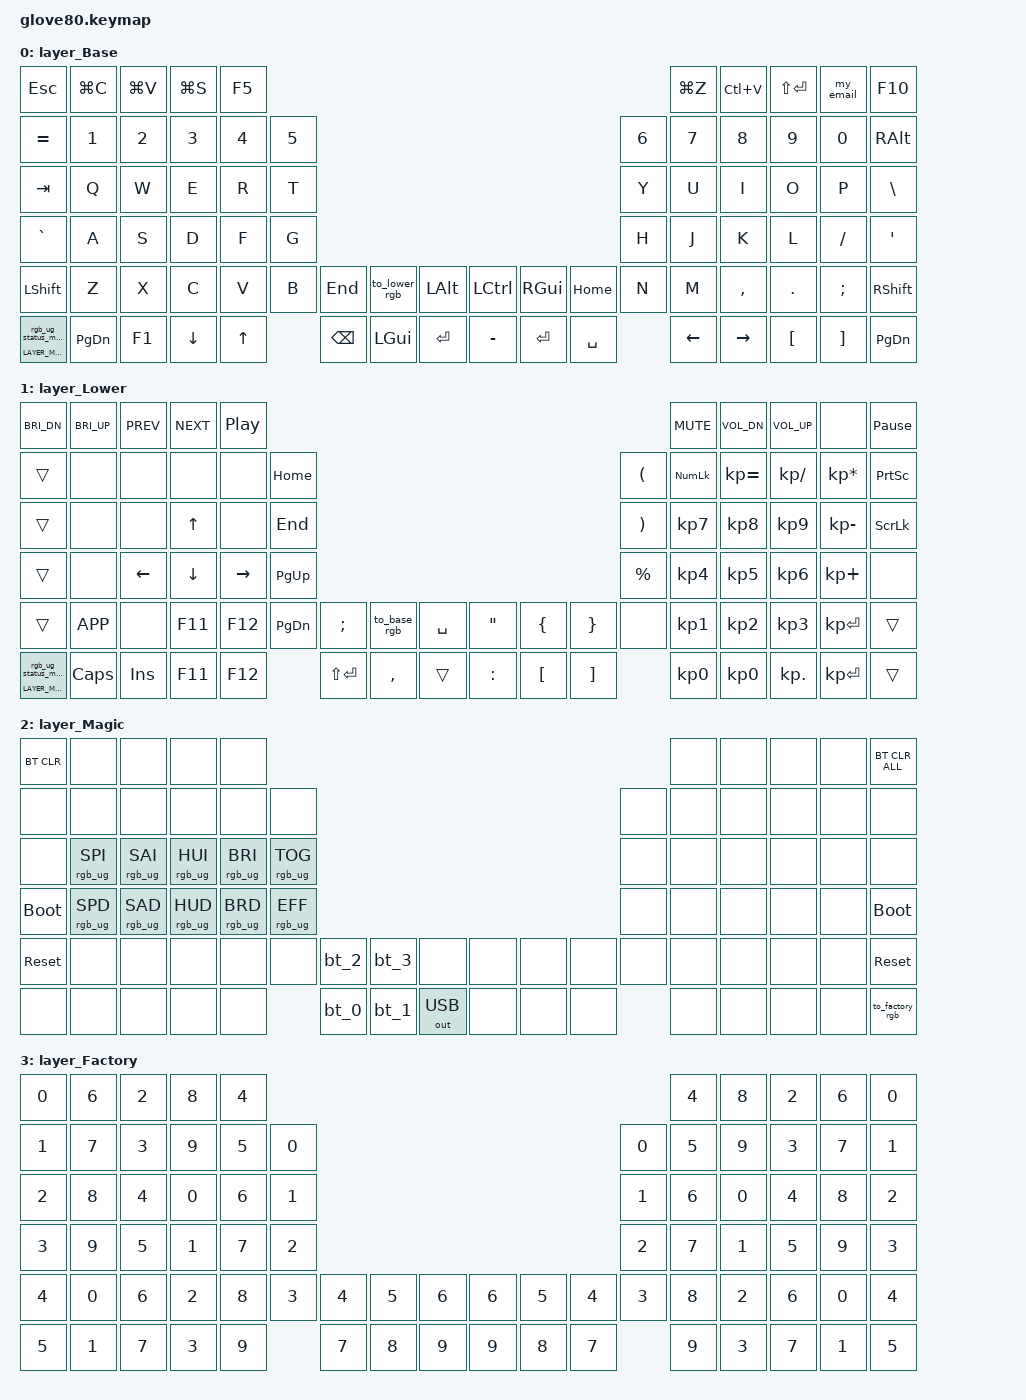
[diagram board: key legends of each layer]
/*
 * Copyright (c) 2020 The ZMK Contributors
 * Copyright (c) 2025 Innaworks Development Limited, trading as MoErgo
 *
 * SPDX-License-Identifier: MIT
 */


/* THIS FILE WAS GENERATED BY GLOVE80 LAYOUT EDITOR
 *
 * This file was generated automatically. You may or may not want to
 * edit it directly.
 */

#include <behaviors.dtsi>
/* Include all behavior includes needed */
#include <dt-bindings/zmk/outputs.h>
#include <dt-bindings/zmk/keys.h>
#include <dt-bindings/zmk/bt.h>
#include <dt-bindings/zmk/rgb.h>

#include <dt-bindings/zmk/rgb_colors.h>

/* On demand includes */


/* Automatically generated layer name #define */
#define LAYER_Base 0
#define LAYER_Lower 1
#define LAYER_Magic 2
#define LAYER_Factory 3

/* To deal with the situation where there is no Lower layer, to keep &lower happy */
#ifndef LAYER_Lower
#define LAYER_Lower 0
#endif

/* Custom Device-tree */
// RGB color macros for layer-based underglow
/ {
    macros {
        rgb_base: rgb_base {
            label = "RGB_BASE_LAYER";
            compatible = "zmk,behavior-macro";
            #binding-cells = <0>;
            bindings = <&rgb_ug RGB_COLOR_HSB(0,0,0)>;  // Black/Off
        };
        
        rgb_lower: rgb_lower {
            label = "RGB_LOWER_LAYER";
            compatible = "zmk,behavior-macro";
            #binding-cells = <0>;
            bindings = <&rgb_ug RGB_COLOR_HSB(300,100,50)>;  // Purple
        };
        
        rgb_magic: rgb_magic {
            label = "RGB_MAGIC_LAYER";
            compatible = "zmk,behavior-macro";
            #binding-cells = <0>;
            bindings = <&rgb_ug RGB_COLOR_HSB(240,100,50)>;  // Blue
        };
        
        rgb_factory: rgb_factory {
            label = "RGB_FACTORY_LAYER";
            compatible = "zmk,behavior-macro";
            #binding-cells = <0>;
            bindings = <&rgb_ug RGB_COLOR_HSB(180,100,50)>;  // Cyan/Teal
        };
    };
};

/* Input Listeners */


/* System behavior and Macros */
/ {
    behaviors {
        // For the "layer" key, it'd nice to be able to use it as either a shift or a toggle.
        // Configure it as a tap dance, so the first tap (or hold) is a &mo and the second tap is a &to
        lower: lower {
            compatible = "zmk,behavior-tap-dance";
            label = "LAYER_TAP_DANCE";
            #binding-cells = <0>;
            tapping-term-ms = <200>;
            bindings = <&mo LAYER_Lower>, <&to LAYER_Lower>;
        };
        
        // Fixed layer switch behaviors - separate the layer switching from RGB
        to_lower_rgb: to_lower_rgb {
            compatible = "zmk,behavior-macro";
            label = "TO_LOWER_WITH_RGB";
            #binding-cells = <0>;
            wait-ms = <10>;
            tap-ms = <10>;
            bindings = <&to LAYER_Lower>, <&macro_wait_time 50>, <&rgb_lower>;
        };
        
        to_base_rgb: to_base_rgb {
            compatible = "zmk,behavior-macro";
            label = "TO_BASE_WITH_RGB";
            #binding-cells = <0>;
            wait-ms = <10>;
            tap-ms = <10>;
            bindings = <&to LAYER_Base>, <&macro_wait_time 50>, <&rgb_base>;
        };
        
        to_magic_rgb: to_magic_rgb {
            compatible = "zmk,behavior-macro";
            label = "TO_MAGIC_WITH_RGB";
            #binding-cells = <0>;
            wait-ms = <10>;
            tap-ms = <10>;
            bindings = <&to LAYER_Magic>, <&macro_wait_time 50>, <&rgb_magic>;
        };
        
        to_factory_rgb: to_factory_rgb {
            compatible = "zmk,behavior-macro";
            label = "TO_FACTORY_WITH_RGB";
            #binding-cells = <0>;
            wait-ms = <10>;
            tap-ms = <10>;
            bindings = <&to LAYER_Factory>, <&macro_wait_time 50>, <&rgb_factory>;
        };
    };
};

/ {
    macros {
        rgb_ug_status_macro: rgb_ug_status_macro {
            label = "RGB_UG_STATUS";
            compatible = "zmk,behavior-macro";
            #binding-cells = <0>;
            bindings
                = <&rgb_ug RGB_STATUS>;
        };
    };
};


/ {
#ifdef BT_DISC_CMD
    behaviors {
        bt_0: bt_0 {
            compatible = "zmk,behavior-tap-dance";
            label = "BT_0";
            #binding-cells = <0>;
            tapping-term-ms = <200>;
            bindings = <&bt_select_0>, <&bt BT_DISC 0>;
        };
        bt_1: bt_1 {
            compatible = "zmk,behavior-tap-dance";
            label = "BT_1";
            #binding-cells = <0>;
            tapping-term-ms = <200>;
            bindings = <&bt_select_1>, <&bt BT_DISC 1>;
        };
        bt_2: bt_2 {
            compatible = "zmk,behavior-tap-dance";
            label = "BT_2";
            #binding-cells = <0>;
            tapping-term-ms = <200>;
            bindings = <&bt_select_2>, <&bt BT_DISC 2>;
        };
        bt_3: bt_3 {
            compatible = "zmk,behavior-tap-dance";
            label = "BT_3";
            #binding-cells = <0>;
            tapping-term-ms = <200>;
            bindings = <&bt_select_3>, <&bt BT_DISC 3>;
        };
    };
    macros {
        bt_select_0: bt_select_0 {
            label = "BT_SELECT_0";
            compatible = "zmk,behavior-macro";
            #binding-cells = <0>;
            bindings
                = <&out OUT_BLE>,
                  <&bt BT_SEL 0>;
        };
        bt_select_1: bt_select_1 {
            label = "BT_SELECT_1";
            compatible = "zmk,behavior-macro";
            #binding-cells = <0>;
            bindings
                = <&out OUT_BLE>,
                  <&bt BT_SEL 1>;
        };
        bt_select_2: bt_select_2 {
            label = "BT_SELECT_2";
            compatible = "zmk,behavior-macro";
            #binding-cells = <0>;
            bindings
                = <&out OUT_BLE>,
                  <&bt BT_SEL 2>;
        };
        bt_select_3: bt_select_3 {
            label = "BT_SELECT_3";
            compatible = "zmk,behavior-macro";
            #binding-cells = <0>;
            bindings
                = <&out OUT_BLE>,
                  <&bt BT_SEL 3>;
        };
    };
#else
    macros {
        bt_0: bt_0 {
            label = "BT_0";
            compatible = "zmk,behavior-macro";
            #binding-cells = <0>;
            bindings
                = <&out OUT_BLE>,
                  <&bt BT_SEL 0>;
        };
        bt_1: bt_1 {
            label = "BT_1";
            compatible = "zmk,behavior-macro";
            #binding-cells = <0>;
            bindings
                = <&out OUT_BLE>,
                  <&bt BT_SEL 1>;
        };
        bt_2: bt_2 {
            label = "BT_2";
            compatible = "zmk,behavior-macro";
            #binding-cells = <0>;
            bindings
                = <&out OUT_BLE>,
                  <&bt BT_SEL 2>;
        };
        bt_3: bt_3 {
            label = "BT_3";
            compatible = "zmk,behavior-macro";
            #binding-cells = <0>;
            bindings
                = <&out OUT_BLE>,
                  <&bt BT_SEL 3>;
        };
    };
#endif
};

/ {
    behaviors {
        magic: magic {
            compatible = "zmk,behavior-hold-tap";
            label = "MAGIC_HOLD_TAP";
            #binding-cells = <2>;
            flavor = "tap-preferred";
            tapping-term-ms = <200>;
            bindings = <&mo>, <&rgb_ug_status_macro>;
        };
    };
};

/* #define for key positions */
#define POS_LH_T1 52
#define POS_LH_T2 53
#define POS_LH_T3 54
#define POS_LH_T4 69
#define POS_LH_T5 70
#define POS_LH_T6 71
#define POS_LH_C1R2 15
#define POS_LH_C1R3 27
#define POS_LH_C1R4 39
#define POS_LH_C1R5 51
#define POS_LH_C2R1 4
#define POS_LH_C2R2 14
#define POS_LH_C2R3 26
#define POS_LH_C2R4 38
#define POS_LH_C2R5 50
#define POS_LH_C2R6 68
#define POS_LH_C3R1 3
#define POS_LH_C3R2 13
#define POS_LH_C3R3 25
#define POS_LH_C3R4 37
#define POS_LH_C3R5 49
#define POS_LH_C3R6 67
#define POS_LH_C4R1 2
#define POS_LH_C4R2 12
#define POS_LH_C4R3 24
#define POS_LH_C4R4 36
#define POS_LH_C4R5 48
#define POS_LH_C4R6 66
#define POS_LH_C5R1 1
#define POS_LH_C5R2 11
#define POS_LH_C5R3 23
#define POS_LH_C5R4 35
#define POS_LH_C5R5 47
#define POS_LH_C5R6 65
#define POS_LH_C6R1 0
#define POS_LH_C6R2 10
#define POS_LH_C6R3 22
#define POS_LH_C6R4 34
#define POS_LH_C6R5 46
#define POS_LH_C6R6 64
#define POS_RH_T1 57
#define POS_RH_T2 56
#define POS_RH_T3 55
#define POS_RH_T4 74
#define POS_RH_T5 73
#define POS_RH_T6 72
#define POS_RH_C1R2 16
#define POS_RH_C1R3 28
#define POS_RH_C1R4 40
#define POS_RH_C1R5 58
#define POS_RH_C2R1 5
#define POS_RH_C2R2 17
#define POS_RH_C2R3 29
#define POS_RH_C2R4 41
#define POS_RH_C2R5 59
#define POS_RH_C2R6 75
#define POS_RH_C3R1 6
#define POS_RH_C3R2 18
#define POS_RH_C3R3 30
#define POS_RH_C3R4 42
#define POS_RH_C3R5 60
#define POS_RH_C3R6 76
#define POS_RH_C4R1 7
#define POS_RH_C4R2 19
#define POS_RH_C4R3 31
#define POS_RH_C4R4 43
#define POS_RH_C4R5 61
#define POS_RH_C4R6 77
#define POS_RH_C5R1 8
#define POS_RH_C5R2 20
#define POS_RH_C5R3 32
#define POS_RH_C5R4 44
#define POS_RH_C5R5 62
#define POS_RH_C5R6 78
#define POS_RH_C6R1 9
#define POS_RH_C6R2 21
#define POS_RH_C6R3 33
#define POS_RH_C6R4 45
#define POS_RH_C6R5 63
#define POS_RH_C6R6 79

/* Custom Defined Behaviors */
/ {
macros {
    my_email: my_email {
        compatible = "zmk,behavior-macro";
        label = "MY_EMAIL";
        #binding-cells = <0>;
        bindings = <&kp LS(W) &kp H &kp AT &kp T &kp S &kp LS(M) &kp Y &kp LS(N) &kp A &kp M &kp N3 &kp EXCL>;
    };
};
};

/* Automatically generated macro definitions */
/ {
    macros {

    };
};

/* Automatically generated behavior definitions */
/ {
    behaviors {

    };
};

/* Automatically generated combos definitions */


/* Automatically generated keymap */
/ {
    keymap {
        compatible = "zmk,keymap";


        layer_Base {
            bindings = <
              &kp ESC  &kp LG(C)  &kp LG(V)  &kp LG(S)  &kp F5                                                                                   &kp LG(Z)  &kp LC(V)  &kp LS(RET)  &my_email    &kp F10
            &kp EQUAL     &kp N1     &kp N2     &kp N3  &kp N4  &kp N5                                                                   &kp N6     &kp N7     &kp N8       &kp N9     &kp N0   &kp RALT
              &kp TAB      &kp Q      &kp W      &kp E   &kp R   &kp T                                                                    &kp Y      &kp U      &kp I        &kp O      &kp P   &kp BSLH
            &kp GRAVE      &kp A      &kp S      &kp D   &kp F   &kp G                                                                    &kp H      &kp J      &kp K        &kp L   &kp FSLH    &kp SQT
            &kp LSHFT      &kp Z      &kp X      &kp C   &kp V   &kp B   &kp END  &to_lower_rgb  &kp LALT  &kp LCTRL  &kp RGUI   &kp HOME   &kp N      &kp M  &kp COMMA      &kp DOT   &kp SEMI  &kp RSHFT
 &magic LAYER_Magic 0  &kp PG_DN     &kp F1   &kp DOWN  &kp UP          &kp BSPC     &kp LGUI   &kp RET  &kp MINUS   &kp RET  &kp SPACE           &kp LEFT  &kp RIGHT     &kp LBKT   &kp RBKT  &kp PG_DN
            >;
        };

        layer_Lower {
            bindings = <
         &kp C_BRI_DN  &kp C_BRI_UP      &kp C_PREV      &kp C_NEXT         &kp C_PP                                                                                                         &kp C_MUTE  &kp C_VOL_DN  &kp C_VOL_UP            &none  &kp PAUSE_BREAK
               &trans         &none           &none           &none            &none   &kp HOME                                                                        &kp LEFT_PARENTHESIS  &kp KP_NUM  &kp KP_EQUAL  &kp KP_SLASH  &kp KP_MULTIPLY  &kp PRINTSCREEN
               &trans         &none           &none    &kp UP_ARROW            &none    &kp END                                                                       &kp RIGHT_PARENTHESIS   &kp KP_N7     &kp KP_N8     &kp KP_N9     &kp KP_MINUS   &kp SCROLLLOCK
               &trans         &none  &kp LEFT_ARROW  &kp DOWN_ARROW  &kp RIGHT_ARROW  &kp PG_UP                                                                                 &kp PERCENT   &kp KP_N4     &kp KP_N5     &kp KP_N6      &kp KP_PLUS            &none
               &trans     &kp K_APP           &none         &kp F11          &kp F12  &kp PG_DN     &kp SEMI  &to_base_rgb  &kp SPACE    &kp DQT  &kp LBRC  &kp RBRC                     &none   &kp KP_N1     &kp KP_N2     &kp KP_N3     &kp KP_ENTER           &trans
 &magic LAYER_Magic 0      &kp CAPS         &kp INS         &kp F11          &kp F12             &kp LS(RET)   &kp COMMA     &trans  &kp COLON  &kp LBKT  &kp RBKT                             &kp KP_N0     &kp KP_N0    &kp KP_DOT     &kp KP_ENTER           &trans
            >;
        };

        layer_Magic {
            bindings = <
  &bt BT_CLR            &none            &none            &none            &none                                                                                     &none   &none   &none   &none  &bt BT_CLR_ALL
       &none            &none            &none            &none            &none            &none                                                            &none   &none   &none   &none   &none           &none
       &none  &rgb_ug RGB_SPI  &rgb_ug RGB_SAI  &rgb_ug RGB_HUI  &rgb_ug RGB_BRI  &rgb_ug RGB_TOG                                                            &none   &none   &none   &none   &none           &none
 &bootloader  &rgb_ug RGB_SPD  &rgb_ug RGB_SAD  &rgb_ug RGB_HUD  &rgb_ug RGB_BRD  &rgb_ug RGB_EFF                                                            &none   &none   &none   &none   &none     &bootloader
  &sys_reset            &none            &none            &none            &none            &none   &bt_2   &bt_3         &none   &none   &none   &none   &none   &none   &none   &none   &none      &sys_reset
       &none            &none            &none            &none            &none                    &bt_0   &bt_1  &out OUT_USB   &none   &none   &none           &none   &none   &none   &none  &to_factory_rgb
            >;
        };

        layer_Factory {
            bindings = <
 &kp NUMBER_0  &kp NUMBER_6  &kp NUMBER_2  &kp NUMBER_8  &kp NUMBER_4                                                                                                                     &kp NUMBER_4  &kp NUMBER_8  &kp NUMBER_2  &kp NUMBER_6  &kp NUMBER_0
 &kp NUMBER_1  &kp NUMBER_7  &kp NUMBER_3  &kp NUMBER_9  &kp NUMBER_5  &kp NUMBER_0                                                                                         &kp NUMBER_0  &kp NUMBER_5  &kp NUMBER_9  &kp NUMBER_3  &kp NUMBER_7  &kp NUMBER_1
 &kp NUMBER_2  &kp NUMBER_8  &kp NUMBER_4  &kp NUMBER_0  &kp NUMBER_6  &kp NUMBER_1                                                                                         &kp NUMBER_1  &kp NUMBER_6  &kp NUMBER_0  &kp NUMBER_4  &kp NUMBER_8  &kp NUMBER_2
 &kp NUMBER_3  &kp NUMBER_9  &kp NUMBER_5  &kp NUMBER_1  &kp NUMBER_7  &kp NUMBER_2                                                                                         &kp NUMBER_2  &kp NUMBER_7  &kp NUMBER_1  &kp NUMBER_5  &kp NUMBER_9  &kp NUMBER_3
 &kp NUMBER_4  &kp NUMBER_0  &kp NUMBER_6  &kp NUMBER_2  &kp NUMBER_8  &kp NUMBER_3  &kp NUMBER_4  &kp NUMBER_5  &kp NUMBER_6  &kp NUMBER_6  &kp NUMBER_5  &kp NUMBER_4  &kp NUMBER_3  &kp NUMBER_8  &kp NUMBER_2  &kp NUMBER_6  &kp NUMBER_0  &kp NUMBER_4
 &kp NUMBER_5  &kp NUMBER_1  &kp NUMBER_7  &kp NUMBER_3  &kp NUMBER_9                &kp NUMBER_7  &kp NUMBER_8  &kp NUMBER_9  &kp NUMBER_9  &kp NUMBER_8  &kp NUMBER_7                &kp NUMBER_9  &kp NUMBER_3  &kp NUMBER_7  &kp NUMBER_1  &kp NUMBER_5
            >;
        };

    };
};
